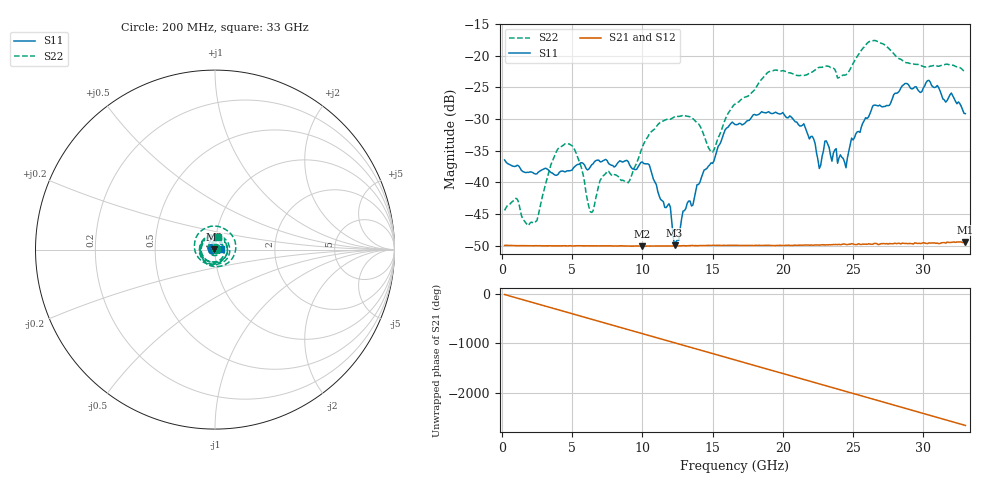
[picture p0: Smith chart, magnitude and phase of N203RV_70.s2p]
# GHZ S RI R 50
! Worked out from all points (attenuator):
!   329 points, 200 MHz to 33 GHz, reference 50 ohm
!   highest |S21| = -49.41 dB at 33 GHz (marker M1); lowest = -50.1 dB at 10 GHz (marker M2)
!   lowest |S11| = -49.9 dB at 12.3 GHz (marker M3), VSWR 1.01, Z = 49.7 + j0.104 ohm
!   |S11| at or under -10 dB: start of sweep to end of sweep
!   |S22| runs from -46.8 to -17.6 dB; largest |S21 - S12| = 7.2e-05
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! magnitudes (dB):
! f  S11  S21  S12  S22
! 200 MHz  -36.5  -50.0  -50.0  -44.4
! 2.5 GHz  -38.7  -50.0  -50.0  -46.1
! 4.5 GHz  -38.4  -50.0  -50.0  -33.9
! 5.7 GHz  -36.9  -50.0  -50.0  -38.0
! 6.4 GHz  -37.2  -50.0  -50.0  -44.8
! 7.2 GHz  -36.6  -50.0  -50.0  -39.0
! 9 GHz  -36.8  -50.1  -50.1  -40.1
! 10 GHz  -36.8  -50.1  -50.1  -34.4
! 11.2 GHz  -42.1  -50.1  -50.0  -30.7
! 12 GHz  -43.9  -50.1  -50.1  -30.0
! 12.3 GHz  -49.9  -50.0  -50.0  -29.7
! 15 GHz  -37.0  -50.0  -50.0  -35.2
! 16.6 GHz  -30.9  -49.9  -49.9  -27.6
! 20 GHz  -29.0  -50.0  -49.9  -22.4
! 22.1 GHz  -32.7  -49.9  -49.9  -22.6
! 22.6 GHz  -37.8  -49.9  -49.9  -21.8
! 23.1 GHz  -33.5  -49.9  -49.8  -21.6
! 24.5 GHz  -37.7  -49.8  -49.8  -23.0
! 26.4 GHz  -28.0  -49.8  -49.7  -17.6
! 27.6 GHz  -27.8  -49.7  -49.7  -19.0
! 30.4 GHz  -23.9  -49.6  -49.6  -21.7
! 33 GHz  -29.1  -49.4  -49.4  -22.7
